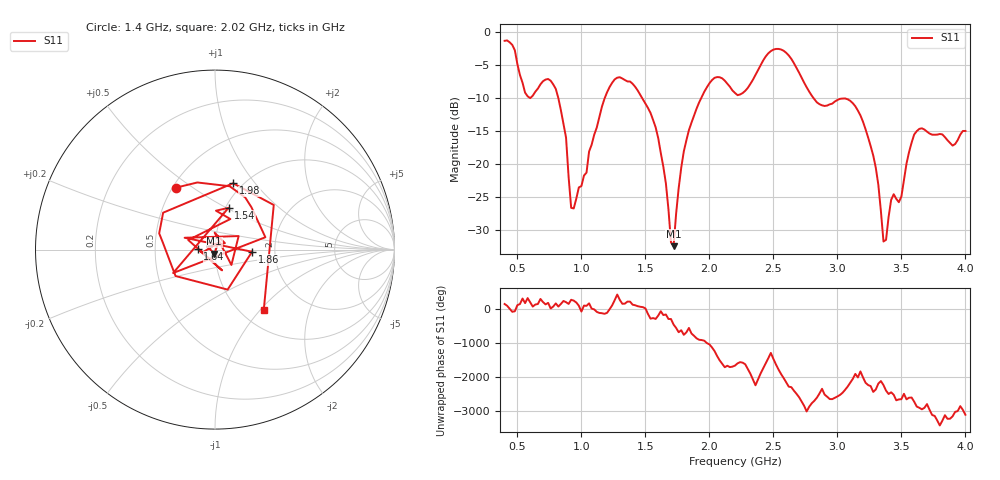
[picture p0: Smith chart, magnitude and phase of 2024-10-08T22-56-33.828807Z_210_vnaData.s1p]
! Created with skrf (http://scikit-rf.org).
# Hz S RI R 50.0
!freq ReS11 ImS11
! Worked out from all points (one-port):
!   181 points, 400 MHz to 4 GHz, reference 50 ohm
!   lowest |S11| = -32.4 dB at 1.72 GHz (marker M1), VSWR 1.05, Z = 49.5 - j2.33 ohm
!   |S11| at or under -10 dB: 820.1 MHz to 1.182 GHz (361.4 MHz wide, 36.1 % of centre); 1.476 GHz to 1.935 GHz (459.1 MHz wide, 26.9 % of centre); 2.815 GHz to end of sweep
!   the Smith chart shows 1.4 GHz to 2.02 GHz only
!   S11 on the Smith chart (normalised r, x): 1.4 GHz: 0.52, +0.43; 1.54 GHz: 1.03, +0.51; 1.64 GHz: 0.83, +0.01; 1.86 GHz: 1.52, -0.04; 1.98 GHz: 0.90, +0.78; 2.02 GHz: 1.26, -1.05
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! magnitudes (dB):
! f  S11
! 400 MHz  -1.3
! 580 MHz  -9.7
! 760 MHz  -7.3
! 860 MHz  -13.9
! 920 MHz  -26.6
! 940 MHz  -26.7
! 1.18 GHz  -10.1
! 1.3 GHz  -6.8
! 1.4 GHz  -7.8
! 1.54 GHz  -12.2
! 1.64 GHz  -20.4
! 1.72 GHz  -32.4
! 1.76 GHz  -23.6
! 1.86 GHz  -13.7
! 1.98 GHz  -8.3
! 2.02 GHz  -7.2
! 2.2 GHz  -9.2
! 2.5 GHz  -2.6
! 2.66 GHz  -4.7
! 2.86 GHz  -10.9
! 3.1 GHz  -10.4
! 3.28 GHz  -18.7
! 3.36 GHz  -31.7
! 3.42 GHz  -25.4
! 3.5 GHz  -24.9
! 3.56 GHz  -18.1
! 3.64 GHz  -14.6
! 4 GHz  -14.9
